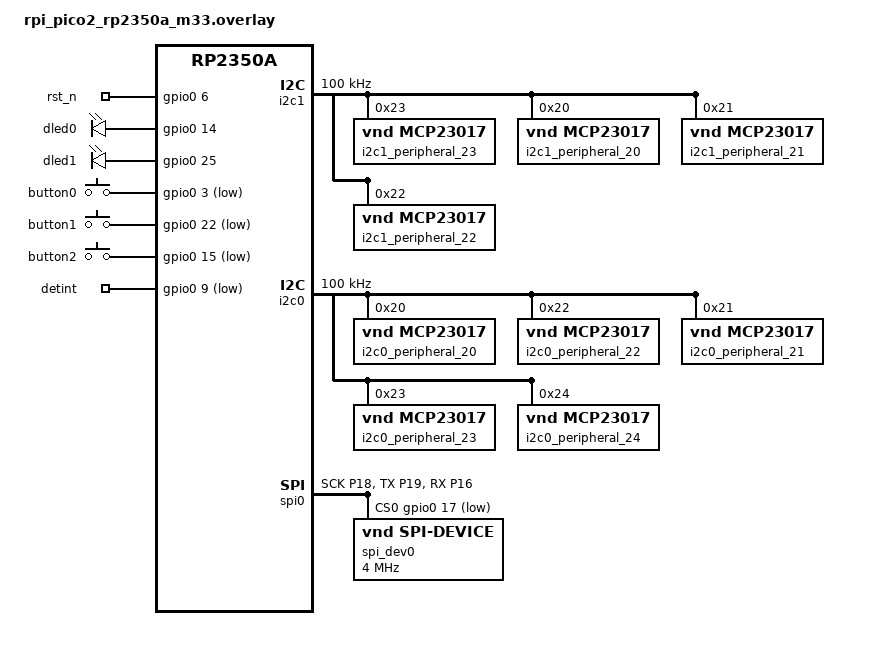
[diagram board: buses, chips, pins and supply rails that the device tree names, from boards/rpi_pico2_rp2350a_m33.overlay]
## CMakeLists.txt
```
# SPDX-License-Identifier: Apache-2.0

cmake_minimum_required(VERSION 3.20.0)

set(CMAKE_EXPORT_COMPILE_COMMANDS ON)
set(DTC_OVERLAY_FILE ${CMAKE_CURRENT_SOURCE_DIR}/boards/rpi_pico2_rp2350a_m33.overlay)
find_package(Zephyr REQUIRED HINTS $ENV{ZEPHYR_BASE})
project(generic_i2c)

target_sources(app PRIVATE 
src/main.c 
src/gpio_i2c.c 
src/gpio_i2c.h
src/spio.c
src/spio.h
src/tones.c
src/tones.h
src/main_fsm.c
src/main_fsm.h
src/slic.c
src/slic.h
src/bt.c
src/bt.h
)
```

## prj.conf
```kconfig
CONFIG_I2C=y
CONFIG_SPI=y
CONFIG_PINCTRL=y
CONFIG_SHELL=y
CONFIG_I2C_SHELL=y
CONFIG_LOG=y
CONFIG_LOG_DEFAULT_LEVEL=3
CONFIG_SMF=y
CONFIG_SHELL=y
CONFIG_LOG_BACKEND_UART=y
CONFIG_LOG_RUNTIME_FILTERING=y
CONFIG_LOG_MODE_IMMEDIATE=n
CONFIG_LOG_MODE_DEFERRED=y
CONFIG_TIMESLICING=y
CONFIG_TIMESLICE_SIZE=10
CONFIG_TIMESLICE_PRIORITY=5
```

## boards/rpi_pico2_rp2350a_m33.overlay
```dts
#include <dt-bindings/gpio/gpio.h>

&pinctrl {
    i2c0_default: i2c0_default {
        group1 {
            pinmux = <I2C0_SDA_P20>, <I2C0_SCL_P21>;
            input-enable;
            input-schmitt-enable;
        };
    };

    i2c1_default: i2c1_default {
        group1 {
            pinmux = <I2C1_SDA_P10>, <I2C1_SCL_P11>;
            input-enable;
            input-schmitt-enable;
        };
    };

    spi0_default: spi0_default {
        group1 {                          /* outputs */
        pinmux = <SPI0_SCK_P18>, <SPI0_TX_P19>;
        };
        group2 {                          /* input */
        pinmux = <SPI0_RX_P16>;
            input-enable;
        };
    };
};

&i2c1 {
    status = "okay";
    pinctrl-0 = <&i2c1_default>;
    pinctrl-names = "default";
    clock-frequency = <I2C_BITRATE_STANDARD>;

    i2c1_peripheral_23: i2c1_peripheral_23@23 {
        compatible = "vnd,mcp23017";
        reg = <0x23>;                     /* 7-bit slave address */
    };

    i2c1_peripheral_20: i2c1_peripheral_20@20 {
        compatible = "vnd,mcp23017";
        reg = <0x20>;
    };

    i2c1_peripheral_21: i2c1_peripheral_21@21 {
        compatible = "vnd,mcp23017";
        reg = <0x21>;                     /* 7-bit slave address */
    };

	i2c1_peripheral_22: i2c1_peripheral_22@22 {
        compatible = "vnd,mcp23017";
        reg = <0x22>;                     /* 7-bit slave address */
    };


};

&i2c0 {
    status = "okay";
    pinctrl-0 = <&i2c0_default>;
    pinctrl-names = "default";
    clock-frequency = <I2C_BITRATE_STANDARD>;

    i2c0_peripheral_20: i2c0_peripheral_20@20 {
        compatible = "vnd,mcp23017";
        reg = <0x20>;
    };

    i2c0_peripheral_22: i2c0_peripheral_20@22 {
        compatible = "vnd,mcp23017";
        reg = <0x22>;
    };

    i2c0_peripheral_21: i2c0_peripheral_21@21 {
        compatible = "vnd,mcp23017";
        reg = <0x21>;                     /* 7-bit slave address */
    };

    i2c0_peripheral_23: i2c0_peripheral_23@23 {
        compatible = "vnd,mcp23017";
        reg = <0x23>;                     /* 7-bit slave address */
    };

    i2c0_peripheral_24: i2c0_peripheral_24@24 {
        compatible = "vnd,mcp23017";
        reg = <0x24>;                     /* 7-bit slave address */
    };


};


&spi0 {
    status        = "okay";
    pinctrl-0     = <&spi0_default>;
    pinctrl-names = "default";
    cs-gpios      = <&gpio0 17 GPIO_ACTIVE_LOW>;

    spi_dev0: spi_dev0@0 {
        compatible        = "vnd,spi-device";
        reg               = <0>;
        spi-max-frequency = <4000000>;
    };
};

/ {
    hooksw {
        compatible = "gpio-leds";
        rst_n: rstn {
            gpios = <&gpio0 6 GPIO_ACTIVE_HIGH>;
        };
    };


    dled_0 {
        compatible = "gpio-leds";
        dled0: dled_0 {
            gpios = <&gpio0 14 GPIO_ACTIVE_HIGH>;
        };
    };

    dled_1 {
        compatible = "gpio-leds";
        dled1: dled_1 {
            gpios = <&gpio0 25 GPIO_ACTIVE_HIGH>;
        };
    };



    button_0 {
        compatible = "gpio-keys";
        button0: button_0 {
            gpios = <&gpio0 3 (GPIO_ACTIVE_LOW)>;
        };
    };

    button_1 {
        compatible = "gpio-keys";
        button1: button_1 {
            gpios = <&gpio0 22 (GPIO_ACTIVE_LOW)>;
        };
    };

    button_2 {
        compatible = "gpio-keys";
        button2: button_2 {
            gpios = <&gpio0 15 (GPIO_ACTIVE_LOW | GPIO_PULL_UP)>;
        };
    };

    det_int {
        compatible = "gpio-keys";
        detint: det_int {
            gpios = <&gpio0 9 (GPIO_ACTIVE_LOW)>;
        };
    };

    aliases {
        rstn = &rst_n;
        sw0 = &button0;
        sw1 = &button1;
        sw2 = &button2;
        detint = &detint;
        led0 = &dled0;
        led1 = &dled1;
    };
};
```

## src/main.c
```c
#include "stdint.h"
#include "main.h"
#include "main_fsm.h"
#include "tones.h"
#include "slic.h"
#include "bt.h"
#include "gpio_i2c.h"
#include <zephyr/kernel.h>
#include <zephyr/drivers/gpio.h>
#include <zephyr/smf.h>
#include <zephyr/logging/log.h>

LOG_MODULE_DECLARE(main, LOG_LEVEL_NONE);

/* ------------------------------------------------------------------ */
/* Tone instances — one per subscriber line                           */
/* tone_run initialised to 0 (blocked), melody = gb_ring              */
/* periph_addr identifies which SLIC to ring                          */
/* ------------------------------------------------------------------ */
static tone_instance_t tone1 = {
    .melody = gb_ring,
    .periph_addr = PERIPH_ADDR_20,
};

static tone_instance_t tone2 = {
    .melody = de_ring,
    .periph_addr = PERIPH_ADDR_21,
};

static tone_instance_t tone3 = {
    .melody = de_ring,
    .periph_addr = PERIPH_ADDR_21, /* update when hw address known  */
};


/* ------------------------------------------------------------------ */
/* FSM instances                                                       */
/* ------------------------------------------------------------------ */

static struct fsm_instance fsm1 = {
    .button = GPIO_DT_SPEC_GET(DT_ALIAS(detint), gpios),
    .engaged_bit = ENGAGED_FSM1_BIT,
    .int_call_bit = INT_CALL_FSM1_BIT,
    .tone = &tone1,
    .status_bit = 6,
};

static struct fsm_instance fsm2 = {
    .button = GPIO_DT_SPEC_GET(DT_ALIAS(detint), gpios),
    .engaged_bit = ENGAGED_FSM2_BIT,
    .int_call_bit = INT_CALL_FSM2_BIT,
    .tone = &tone2,
    .status_bit = 7,
};

/* NOTE: sw2 must be defined in the devicetree overlay               */
static struct fsm_instance fsm3 = {
    .button = GPIO_DT_SPEC_GET(DT_ALIAS(detint), gpios),
    .engaged_bit = ENGAGED_FSM3_BIT,
    .int_call_bit = INT_CALL_FSM3_BIT,
    .tone = &tone3,
    .status_bit = 5,
};

/* ------------------------------------------------------------------ */
/* Threads                                                             */
/* ------------------------------------------------------------------ */

#define FSM_STACK_SIZE  1024
#define FSM_PRIORITY    5
#define TONE_STACK_SIZE  1024
#define TONE_PRIORITY    6

static K_SEM_DEFINE(fsm_ready, 0, 3);

static void fsm1_thread(void* a, void* b, void* c)
{
    k_sem_take(&fsm_ready, K_FOREVER);
    fsm_run(&fsm1);
}

static void fsm2_thread(void* a, void* b, void* c)
{
    k_sem_take(&fsm_ready, K_FOREVER);
    fsm_run(&fsm2);
}

static void fsm3_thread(void* a, void* b, void* c)
{
    k_sem_take(&fsm_ready, K_FOREVER);
    fsm_run(&fsm3);
}

K_THREAD_DEFINE(fsm1_tid, FSM_STACK_SIZE, fsm1_thread,
                NULL, NULL, NULL, FSM_PRIORITY, 0, 0);
K_THREAD_DEFINE(fsm2_tid, FSM_STACK_SIZE, fsm2_thread,
                NULL, NULL, NULL, FSM_PRIORITY, 0, 0);
K_THREAD_DEFINE(fsm3_tid, FSM_STACK_SIZE, fsm3_thread,
                NULL, NULL, NULL, FSM_PRIORITY, 0, 0);

/* Tone threads — one per subscriber line, pass tone_instance as arg */
K_THREAD_DEFINE(tone1_tid, TONE_STACK_SIZE, tone_task,
                &tone1, NULL, NULL, TONE_PRIORITY, 0, 0);
K_THREAD_DEFINE(tone2_tid, TONE_STACK_SIZE, tone_task,
                &tone2, NULL, NULL, TONE_PRIORITY, 0, 0);
K_THREAD_DEFINE(tone3_tid, TONE_STACK_SIZE, tone_task,
                &tone3, NULL, NULL, TONE_PRIORITY, 0, 0);

/* ----------------------------------------------------------- */
/* main                                                                */
/* ----------------------------------------------------------- */

int main(void)
{
    int ret;


/* Initialise tone_run semaphores — blocked at start              */
    k_sem_init(&tone1.tone_run, 0, 1);
    k_sem_init(&tone2.tone_run, 0, 1);
    k_sem_init(&tone3.tone_run, 0, 1);

    init_gpios();
    init_bt();
    ret = init_slic();
    if (ret) LOG_ERR("init_slic failed: %d", ret);


    // set spio cs pin on address decoder for spi
    set_slic(i2c_bus0,
             PERIPH_ADDR_24,
             MCPREG_GPIO_B,
             0x00, //Set Address decoder to 0 for CMX no 1
             MASK_HIGH);
    initCMX865();

    set_slic(i2c_bus0,
             PERIPH_ADDR_24,
             MCPREG_GPIO_B,
             0x01, //Set Address decoder to 1 for CMX no 1
             MASK_HIGH);
    initCMX865();

    ret = fsm_init(&fsm1);
    if (ret) LOG_ERR("fsm1 init failed: %d", ret);

    ret = fsm_init(&fsm2);
    if (ret) LOG_ERR("fsm2 init failed: %d", ret);

    ret = fsm_init(&fsm3);
    if (ret) LOG_ERR("fsm3 init failed: %d", ret);

    /* Register instances so update_int_call can wake them            */
    fsm_register(&fsm1);
    fsm_register(&fsm2);
    fsm_register(&fsm3);

    k_sem_give(&fsm_ready);
    k_sem_give(&fsm_ready);
    k_sem_give(&fsm_ready);

    return 0;
}
```

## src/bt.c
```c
//
// Created by Hans Gelke on 08.09.2026.
//

#include "bt.h"
#include "slic.h"
#include "gpio_i2c.h"


int init_bt(void)
{
    set_slic(i2c_bus0,PERIPH_ADDR_22, MCPREG_IODIR_A,BT_DIR_A,BT_DIR);
    set_slic(i2c_bus0,PERIPH_ADDR_22, MCPREG_IODIR_B,BT_DIR_B,BT_DIR);

    set_slic_txmux(i2c_bus0,PERIPH_ADDR_22, SLIC_MUX_DIS);
    set_slic_rxmux(i2c_bus0,PERIPH_ADDR_22, SLIC_MUX_DIS);
    set_slic(i2c_bus0,PERIPH_ADDR_22,MCPREG_GPIO_A,BT_CLR_RST, BT_RST);
    set_slic(i2c_bus0,PERIPH_ADDR_22,MCPREG_GPIO_A,BT_SET_MFB, BT_MFB);

return 0;
}
```

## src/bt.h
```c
//
// Created by Hans Gelke on 08.09.2026.
//

#ifndef SRC_BT_H
#define SRC_BT_H



#include "stdint.h"
#include <zephyr/device.h>

#define BT_CLR_RST (0x10) // Clear BT reset
#define BT_RST (0x10) // Mask for Bluetooth reset bit
#define BT_SET_MFB (0x20) // Set MFB pin
#define BT_MFB (0x20) // Mask for MFB pin

#define BT_DIR_A (0x00) //All outputs
#define BT_DIR_B (0x00) //All outputs

#define BT_DIR (0xff) //Unmask all

int init_bt(void);

#endif //SRC_BT_H
```

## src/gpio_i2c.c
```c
#include <zephyr/drivers/gpio.h>
#include <zephyr/drivers/i2c.h>
#include <zephyr/logging/log.h>
//#include <zephyr/sys/util.h>
//#include <errno.h>
#include "gpio_i2c.h"

#include <stddef.h>
#include <stdint.h>
#include <string.h>

#define RST_N_PIN     6

#define GPIO_NODE DT_NODELABEL(gpio0)


LOG_MODULE_REGISTER(gpio_i2c, LOG_LEVEL_NONE);

const struct device* gpio_dev;
const struct device *i2c_bus0 = DEVICE_DT_GET(I2C_NODE_0);
const struct device *i2c_bus1 = DEVICE_DT_GET(I2C_NODE_1);

int init_gpios(void)
{
    int ret;
    gpio_dev = DEVICE_DT_GET(GPIO_NODE);
    ret = gpio_pin_configure(gpio_dev, RST_N_PIN, GPIO_OUTPUT_INACTIVE);
    gpio_pin_set(gpio_dev, RST_N_PIN, 1);

    LOG_INF("I2C RESET PIN RELEASED");
    return 0;
}


int i2c_write_register(const struct device* bus,
                       uint8_t dev_addr,
                       uint8_t reg_addr,
                       const uint8_t* data,
                       size_t len)
{
    /* Build one contiguous buffer: [reg_addr | data...]
     * The RP2350 I2C controller sends these as a single
     * transaction without a repeated START in between.   */
    uint8_t buf[1 + len]; /* VLA; fine for small len */
    buf[0] = reg_addr;
    memcpy(&buf[1], data, len);

    int ret = i2c_write(bus, buf, sizeof(buf), dev_addr);
    if (ret < 0)
    {
        LOG_ERR("I2C write failed (addr=0x%02x reg=0x%02x): %d (%s)",
                dev_addr, reg_addr, ret, strerror(-ret));
        LOG_ERR("2 I2C write failed 2: %d (%s)", ret, strerror(-ret));
    }
    return ret;
}

int i2c_read_register(const struct device* bus,
                      uint8_t dev_addr,
                      uint8_t reg_addr,
                      uint8_t* data,
                      size_t len)
{
    /* Write the register address first, then read back the data.
     * i2c_write_read() issues a repeated START between the two
     * phases — no STOP in between — which most peripherals require. */
    int ret = i2c_write_read(bus,
                             dev_addr,
                             &reg_addr, sizeof(reg_addr), /* write phase */
                             data, len); /* read phase  */
    if (ret < 0)
    {
        LOG_ERR("I2C read failed (addr=0x%02x reg=0x%02x): %d (%s)",
                dev_addr, reg_addr, ret, strerror(-ret));
    }
    return ret;
}
```

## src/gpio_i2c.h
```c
//
// Created by Hans Gelke on 22.04.2026.
//

#ifndef SRC_GPIO_I2C_H
#define SRC_GPIO_I2C_H
#include <zephyr/device.h>

/* ------------------------------------------------------------------ */
/* I2C bus node labels — devicetree references                        */
/* ------------------------------------------------------------------ */
#define I2C_NODE_0      DT_NODELABEL(i2c0)
#define I2C_NODE_1      DT_NODELABEL(i2c1)

/* ------------------------------------------------------------------ */
/* Shared I2C bus handles — defined in gpio_i2c.c                     */
/* ------------------------------------------------------------------ */
extern const struct device *i2c_bus0;
extern const struct device *i2c_bus1;

/* ------------------------------------------------------------------ */
/* I2C peripheral addresses — derived from devicetree                 */
/* ------------------------------------------------------------------ */
#define PERIPH_ADDR_20  DT_REG_ADDR(DT_NODELABEL(i2c0_peripheral_20))
#define PERIPH_ADDR_21  DT_REG_ADDR(DT_NODELABEL(i2c0_peripheral_21))
#define PERIPH_ADDR_22  DT_REG_ADDR(DT_NODELABEL(i2c0_peripheral_22))
#define PERIPH_ADDR_23  DT_REG_ADDR(DT_NODELABEL(i2c0_peripheral_23))
#define PERIPH_ADDR_24  DT_REG_ADDR(DT_NODELABEL(i2c0_peripheral_24))

/* ------------------------------------------------------------------ */
/* MCP23017 register addresses                                         */
/* ------------------------------------------------------------------ */
#define MCPREG_IODIR_A         0x00    /* I/O direction register A           */
#define MCPREG_IODIR_B         0x01    /* I/O direction register B           */
#define MCPREG_IOPOL_A          0x02    /* GPIO port A register               */
#define MCPREG_IOPOL_B          0x03    /* GPIO port B register */
#define MCPREG_GPINTEN_A          0x04    /* GPIO port B register               */
#define MCPREG_GPINTEN_B          0x05    /* GPIO port B register               */
#define MCPREG_DEFVAL_A          0x06    /* GPIO port B register               */
#define MCPREG_DEFVAL_B          0x07    /* GPIO port B register               */
#define MCPREG_INTCON_A          0x08    /* GPIO port B register               */
#define MCPREG_INTCON_B          0x09    /* GPIO port B register               */
#define MCPREG_IOCON            0x0a    /* GPIO port B register               */
#define MCPREG_GPPU_A          0x0c    /* GPIO port B register               */
#define MCPREG_GPPU_B          0x0d    /* GPIO port B register               */
#define MCPREG_INTF_A          0x0e    /* GPIO port B register               */
#define MCPREG_INTF_B          0x0f    /* GPIO port B register               */
#define MCPREG_INTCAP_A          0x10    /* GPIO port B register               */
#define MCPREG_INTCAP_B          0x11    /* GPIO port B register               */
#define MCPREG_GPIO_A          0x12    /* GPIO port B register               */
#define MCPREG_GPIO_B          0x13    /* GPIO port B register               */
#define MCPREG_OLAT_A          0x14    /* GPIO port B register               */
#define MCPREG_OLAT_B          0x15    /* GPIO port B register  */
#define MCPREG_GPIO 0x00                */




int i2c_write_register(const struct device *bus,
                               uint8_t dev_addr,
                               uint8_t reg_addr,
                               const uint8_t *data,
                               size_t len);

int i2c_read_register(const struct device *bus,
                              uint8_t dev_addr,
                              uint8_t reg_addr,
                              uint8_t *data,
                              size_t len);
int init_gpios(void);






#endif //SRC_GPIO_I2C_H
```

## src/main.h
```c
//
// Created by Hans Gelke on 21.06.2026.
//

#ifndef SRC_MAIN_H
#define SRC_MAIN_H

#include <stdint.h>

/* ------------------------------------------------------------------ */
/* MCP23017 IODIR register values                                      */
/* Written to the IODIRA/IODIRB register to set pin directions        */
/* ------------------------------------------------------------------ */
#define MCP_ALL_OUTPUTS 0x00    /* all pins configured as outputs     */
#define MCP_ALL_INPUTS  0xFF    /* all pins configured as inputs      */

/* ------------------------------------------------------------------ */
/* Byte mask constants                                                 */
/* ------------------------------------------------------------------ */
#define LOWER_NIBBLE    0x0F    /* bits 3:0                           */
#define UPPER_NIBBLE    0xF0    /* bits 7:4                           */
#define BYTE_MASK       0xFF    /* all 8 bits                         */
#define MASK_HIGH       0x0F    /* upper nibble cleared, lower active */

#endif /* SRC_MAIN_H */
```

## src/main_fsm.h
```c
//
// Created by Hans Gelke on 21.06.2026.
//
#ifndef MAIN_FSM_H
#define MAIN_FSM_H

#include <zephyr/drivers/gpio.h>
#include <zephyr/smf.h>
#include <zephyr/kernel.h>
#include <zephyr/sys/atomic.h>
#include "tones.h"

/* ------------------------------------------------------------------ */
/* int_call — shared one-hot register (common to fsm1 and fsm2)       */
/*                                                                     */
/* Reflects pulse_queue[1] as a one-hot bit, but only when            */
/* pulse_queue[0] == 1.                                               */
/*                                                                     */
/* Encoding: value N → BIT(N-1)                                       */
/*   1 → 0b00000001   2 → 0b00000010   3 → 0b00000100                */
/*   4 → 0b00001000   5 → 0b00010000   6 → 0b00100000                */
/*   7 → 0b01000000   8 → 0b10000000   9 → 0b100000000               */
/*                                                                     */
/* fsm1 and fsm2 OR their bits in simultaneously.                     */
/* Bits are only SET here — clearing is described in later            */
/* instructions.                                                       */
/* ------------------------------------------------------------------ */
extern atomic_t int_call;

/* ------------------------------------------------------------------ */
/* engaged — tracks which FSM instances are active (not in S0)        */
/*   bit 0 : fsm1 not in S0                                           */
/*   bit 1 : fsm2 not in S0                                           */
/*   0b00 = both idle   0b01 = fsm1 active   0b10 = fsm2 active      */
/*   0b11 = both active                                               */
/* Bit is SET when FSM leaves S0, CLEARED when FSM enters S0.         */
/* ------------------------------------------------------------------ */
extern atomic_t engaged;

#define ENGAGED_FSM1_BIT  0
#define ENGAGED_FSM2_BIT  1
#define ENGAGED_FSM3_BIT  2

/* Bit each FSM owns in int_call                                       */
#define INT_CALL_FSM1_BIT 0
#define INT_CALL_FSM2_BIT 1
#define INT_CALL_FSM3_BIT 2

/* ------------------------------------------------------------------ */
/* Events                                                              */
/* ------------------------------------------------------------------ */
#define EVENT_BTN_ACTIVE        BIT(0)  /* button pressed  (active edge)  */
#define EVENT_BTN_INACTIVE      BIT(1)  /* button released (inactive edge) */
#define EVENT_PULSE_EXPIRED     BIT(2)  /* pulse_timer reached zero        */
#define EVENT_HANGUP_EXPIRED    BIT(3)  /* hang_up_timer reached zero      */
#define EVENT_INT_CALL          BIT(4)  /* int_call bit set for this FSM   */
#define EVENT_INT_CALL_CLEARED  BIT(5)  /* int_call bit cleared — S7 → S1 */

#define EVENT_ALL  (EVENT_BTN_ACTIVE       | \
                    EVENT_BTN_INACTIVE     | \
                    EVENT_PULSE_EXPIRED    | \
                    EVENT_HANGUP_EXPIRED   | \
                    EVENT_INT_CALL         | \
                    EVENT_INT_CALL_CLEARED)

/* ------------------------------------------------------------------ */
/* Timer values                                                        */
/* ------------------------------------------------------------------ */
#define PULSE_TIMER_MS    500   /* inter-pulse timeout                  */
#define HANGUP_TIMER_MS    80   /* open loop > 80 ms = hang up          */

/* ------------------------------------------------------------------ */
/* Per-instance context                                                */
/* ------------------------------------------------------------------ */
struct fsm_instance {
    struct smf_ctx       ctx;             /* must be first               */

    struct k_event       event;
    int32_t              events;

    struct gpio_dt_spec  button;
    struct gpio_callback button_cb;

    struct k_work         status_work;

    struct k_timer       pulse_timer;     /* inter-pulse countdown       */
    bool                 pulse_expired;   /* set by pulse_timer callback */

    struct k_timer       hang_up_timer;   /* open-loop detection         */

    uint32_t             pulse_count;                      /* pulses in current S2/S3 series, reset in S1     */

    /* pulse_queue — array of completed series counts                  */
    /* One entry per S2/S3 burst, separated by S1 transitions          */
    /* Cleared when FSM enters S0 or S1 (new call / new digit group)   */
#define PULSE_QUEUE_SIZE  16
    uint32_t             pulse_queue[PULSE_QUEUE_SIZE];   /* stored series counts                            */
    uint8_t              pulse_queue_idx;                 /* next free slot, also == number of entries so far */

    /* Which bit of engaged this instance owns (ENGAGED_FSM1_BIT or ENGAGED_FSM2_BIT) */
    uint8_t              engaged_bit;

    /* Which bit of int_call this instance monitors (INT_CALL_FSM1_BIT or INT_CALL_FSM2_BIT) */
    uint8_t              int_call_bit;
    /* Which bit of the shared status register (GPIO_B) this instance watches */
    uint8_t              status_bit;      /* <-- ADD THIS LINE */
    /* Pointer to the FSM that initiated the current int_call to us  */
    /* Set by update_int_call, used by S5 to notify the caller       */
    struct fsm_instance  *caller;

    /* Per-instance tone task context — controls ringing for this line */
    tone_instance_t      *tone;
};

int fsm_init(struct fsm_instance *inst);
int fsm_run(struct fsm_instance *inst);

/* Register an instance so update_int_call can wake it via EVENT_INT_CALL */
void fsm_register(struct fsm_instance *inst);

#endif /* MAIN_FSM_H */
```

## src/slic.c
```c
//
// Created by Hans Gelke on 22.06.2026.
//
#include <zephyr/logging/log.h>

#include "gpio_i2c.h"
#include  "main.h"
#include "slic.h"
#include <zephyr/drivers/i2c.h>

LOG_MODULE_REGISTER(slic, LOG_LEVEL_NONE);

//----------------------------------------
// Initialice I2C in SLICs
//-----------------------------------------

int init_slic(void)
    {

    uint8_t rx_buf20[2] = {0};
    //----------------------------------------
    // Check if I2C is ready
    //-----------------------------------------
        if (!device_is_ready(i2c_bus0))
        {
            LOG_ERR("I2C bus 0 not ready");
            return -ENODEV;
        }
        if (!device_is_ready(i2c_bus1))
        {
            LOG_ERR("I2C bus 1 not ready");
            return -ENODEV;
        }

    // ----------------------------------------------------------------
// Initialize SLIC IODIR Registers. SLIC_DIR has information if Pins should be in and out
//---------------------------------------------------------------

    set_slic(i2c_bus0,PERIPH_ADDR_20, MCPREG_IODIR_B,SLIC_DIR_B,SLIC_DIR);

    set_slic(i2c_bus0,PERIPH_ADDR_21, MCPREG_IODIR_B,SLIC_DIR_B,SLIC_DIR);

    set_slic(i2c_bus0,PERIPH_ADDR_20, MCPREG_IODIR_A,SLIC_DIR_A,SLIC_DIR);

    set_slic(i2c_bus0,PERIPH_ADDR_21, MCPREG_IODIR_A,SLIC_DIR_A,SLIC_DIR);

        //-----------------------
        // Initialize SLIC TX MUXER  with default values = output disabled
        //-------------------------
    set_slic_txmux(i2c_bus0,PERIPH_ADDR_20, SLIC_MUX_DIS);
    set_slic_txmux(i2c_bus0,PERIPH_ADDR_21, SLIC_MUX_DIS);

    //-----------------------
    // Initialize SLIC RX MUXER  with default values = output disabled
    //-------------------------
   // set_slic_rxmux(i2c_bus0,0, SLIC_MUX_a);
   // set_slic_rxmux(i2c_bus0,1, SLIC_MUX_a);
    set_slic(i2c_bus0,PERIPH_ADDR_20, MCPREG_GPIO_A,SLIC_MUX_7,SLIC_MUX);
    set_slic(i2c_bus0,PERIPH_ADDR_21, MCPREG_GPIO_A,SLIC_MUX_7,SLIC_MUX);

        // ----------------------------------------------------------------
        // Set Low/HIGH Battery in both SLICs, BSEL*/
        //----------------------------------------------------------------
    set_slic(i2c_bus0, PERIPH_ADDR_20, MCPREG_GPIO_B,BATLO,BATSEL_MASK);
    set_slic(i2c_bus0,PERIPH_ADDR_21, MCPREG_GPIO_B,BATLO,BATSEL_MASK);

        // ----------------------------------------------------------------
        // Sets Sets F0-F3 Bits in SLIC 20 and 21
        // ----------------------------------------------------------------
        set_slic_mode(i2c_bus0, PERIPH_ADDR_21, SLIC_LPSB);
        set_slic_mode(i2c_bus0, PERIPH_ADDR_20, SLIC_LPSB);

        // ----------------------------------------------------------------
        // Sets E0 Bit in SLICs
        //----------------------------------------------------------------

        set_slic(i2c_bus0,PERIPH_ADDR_20, MCPREG_GPIO_A,SLIC_E0,SLIC_E0_MASK);
        set_slic(i2c_bus0,PERIPH_ADDR_21, MCPREG_GPIO_A,SLIC_E0,SLIC_E0_MASK);


        // ----------------------------------------------------------------
        // Sets SWC_n Bit in SLICs
        //----------------------------------------------------------------

        set_slic(i2c_bus0,PERIPH_ADDR_20, MCPREG_GPIO_B,SWC_N,SWC_N_MASK);
        set_slic(i2c_bus0,PERIPH_ADDR_21, MCPREG_GPIO_B,SWC_N,SWC_N_MASK);



    // ----------------------------------------------------------------
    // Initialize Registers for AUX GPIOs at address 0x24 ALL are outputs
    //----------------------------------------------------------------
    set_slic(i2c_bus0,
             PERIPH_ADDR_24,
             MCPREG_IODIR_A,
             AUX_DIR_A,
             AUX_DIR);

    set_slic(i2c_bus0,
             PERIPH_ADDR_24,
             MCPREG_IODIR_B,
             AUX_DIR_B,
             AUX_DIR);



        // ----------------------------------------------------------------
        // Read IODIR A and B Register for checking only
        //----------------------------------------------------------------
   // uint8_t rx_buf20[2] = {0};
        i2c_read_register(i2c_bus0,
                          PERIPH_ADDR_20,
                          MCPREG_IODIR_A, /* register to read from */
                          rx_buf20,
                          sizeof(rx_buf20));
        LOG_INF("IODIR_A: slave 0x%02x, reg_addr: 0x%02x data: 0x%02x",
                PERIPH_ADDR_20, MCPREG_IODIR_A, rx_buf20[0]);

        i2c_read_register(i2c_bus0,
                          PERIPH_ADDR_20,
                          MCPREG_IODIR_B, /* register to read from */
                          rx_buf20,
                          sizeof(rx_buf20));
        LOG_INF("IODIR_B: slave 0x%02x, reg_addr: 0x%02x data: 0x%02x",
                PERIPH_ADDR_20, MCPREG_IODIR_B, rx_buf20[0]);

    //-------------------------------------------------------------------
    // Read GPIO A and B Register for checking only
    //-------------------------------------------------------------------

        i2c_read_register(i2c_bus0,
                          PERIPH_ADDR_20,
                          MCPREG_GPIO_A, /* register to read from */
                          rx_buf20,
                          sizeof(rx_buf20));
        LOG_INF("GPIO_A: slave 0x%02x, reg_addr: 0x%02x data: 0x%02x",
                PERIPH_ADDR_20, MCPREG_GPIO_A, rx_buf20[0]);

        i2c_read_register(i2c_bus0,
                          PERIPH_ADDR_20,
                          MCPREG_GPIO_B, /* register to read from */
                          rx_buf20,
                          sizeof(rx_buf20));
        LOG_INF("GPIO_B: slave 0x%02x, reg_addr: 0x%02x data: 0x%02x",
                PERIPH_ADDR_20, MCPREG_GPIO_B, rx_buf20[0]);


        // ----------------------------------------------------------------
        // Read IODIR A and B Register for checking only
        //----------------------------------------------------------------
        i2c_read_register(i2c_bus0,
                          PERIPH_ADDR_21,
                          MCPREG_IODIR_A, /* register to read from */
                          rx_buf20,
                          sizeof(rx_buf20));
        LOG_INF("IODIR_A: slave 0x%02x, reg_addr: 0x%02x data: 0x%02x",
                PERIPH_ADDR_21, MCPREG_IODIR_A, rx_buf20[0]);

        i2c_read_register(i2c_bus0,
                          PERIPH_ADDR_21,
                          MCPREG_IODIR_B, /* register to read from */
                          rx_buf20,
                          sizeof(rx_buf20));
        LOG_INF("IODIR_B: slave 0x%02x, reg_addr: 0x%02x data: 0x%02x",
                PERIPH_ADDR_21, MCPREG_IODIR_B, rx_buf20[0]);

        //-------------------------------------------------------------------
        // Read GPIO A and B Register for checking only
        //-------------------------------------------------------------------

        i2c_read_register(i2c_bus0,
                          PERIPH_ADDR_21,
                          MCPREG_GPIO_A, /* register to read from */
                          rx_buf20,
                          sizeof(rx_buf20));
        LOG_INF("GPIO_A: slave 0x%02x, reg_addr: 0x%02x data: 0x%02x",
                PERIPH_ADDR_21, MCPREG_GPIO_A, rx_buf20[0]);


        i2c_read_register(i2c_bus0,
                          PERIPH_ADDR_21,
                          MCPREG_GPIO_B, /* register to read from */
                          rx_buf20,
                          sizeof(rx_buf20));
        LOG_INF("GPIO_B: slave 0x%02x, reg_addr: 0x%02x data: 0x%02x",
                PERIPH_ADDR_21, MCPREG_GPIO_B, rx_buf20[0]);


        return 0; // Return from main.c
    }

/* ----------------------------------------------------------------*/
/* Function Sets Mode Register in SLIC  */
/* -------------------------------------------------------------*/

int set_slic_mode(const struct device* bus,
             uint8_t dev_addr, //Is the subscriber number
             uint8_t mode)
{
    uint8_t reg_addr = 0x12; //GPIO A
    uint8_t mode_mask = 0x70; //Bits 4-6
    uint8_t byte[2] = {0x0};
    //uint8_t dev_addr;

    int ret = i2c_write_read(bus,
                             dev_addr,
                             &reg_addr, sizeof(reg_addr), /* write phase */
                             byte, sizeof(byte)); /* read phase  */
    if (ret < 0)
    {
        LOG_ERR("SLIC read failed (addr=0x%02x reg=0x%02x): %d (%s)",
                dev_addr, reg_addr, ret, strerror(-ret));
    }


    uint8_t buf[2];
    uint8_t results =0x0;

    buf[0] = reg_addr;
    results = (byte[0] & ~mode_mask) | (mode & mode_mask);
    buf[1] = results;

    //LOG_INF("byte: 0x%x, mask: 0x%x, mode: 0x%x, results: 0x%x", byte[0], mask, mode, results);

    ret = i2c_write(bus, buf, sizeof(buf), dev_addr);
    return ret;
}

/* ----------------------------------------------------------------*/
/* Function Sets Any Register in SLIC  */
/* -------------------------------------------------------------*/

int set_slic(const struct device* bus,
             uint8_t dev_addr, //Is the subscriber number
             uint8_t reg_addr,
             uint8_t mode,
             uint8_t mask)
{

    uint8_t byte[2] = {0x0};
    int ret = i2c_write_read(bus,
                             dev_addr,
                             &reg_addr, sizeof(reg_addr), /* write phase */
                             byte, sizeof(byte)); /* read phase  */
    if (ret < 0)
    {
        LOG_ERR("SLIC read failed (addr=0x%02x reg=0x%02x): %d (%s)",
                dev_addr, reg_addr, ret, strerror(-ret));
    }

    uint8_t buf[2];
    uint8_t results =0x0;

    buf[0] = reg_addr;
    results = (byte[0] & ~mask) | (mode & mask);
    buf[1] = results;

    //LOG_INF("byte: 0x%x, mask: 0x%x, mode: 0x%x, results: 0x%x", byte[0], mask, mode, results);

    ret = i2c_write(bus, buf, sizeof(buf), dev_addr);
    return ret;
}

/* ----------------------------------------------------------------*/
/* Function Sets TX_MUX in SLIC  */
/* -------------------------------------------------------------*/

int set_slic_txmux(const struct device* bus,
             uint8_t dev_addr, //Is the subscriber number
             uint8_t val)
{
    uint8_t reg_addr = MCPREG_GPIO_A; //GPIO A
    uint8_t mode_mask = SLIC_MUX; //Bits 4-6
    uint8_t byte[2] = {0x0};
    //uint8_t dev_addr;

    int ret = i2c_write_read(bus,
                             dev_addr,
                             &reg_addr, sizeof(reg_addr), /* write phase */
                             byte, sizeof(byte)); /* read phase  */
    if (ret < 0)
    {
        LOG_ERR("SLIC read failed (addr=0x%02x reg=0x%02x): %d (%s)",
                dev_addr, reg_addr, ret, strerror(-ret));
    }


    uint8_t buf[2];
    uint8_t results =0x0;

    buf[0] = reg_addr;
    results = (byte[0] & ~mode_mask) | (val & mode_mask);
    buf[1] = results;

    //LOG_INF("byte: 0x%x, mask: 0x%x, val: 0x%x, results: 0x%x", byte[0], mask, mode, results);

    ret = i2c_write(bus, buf, sizeof(buf), dev_addr);
    return ret;
}
/* ----------------------------------------------------------------*/
/* Function Sets RX_MUX in SLIC  */
/* -------------------------------------------------------------*/
int set_slic_rxmux(const struct device* bus,
             uint8_t dev_addr, //Is the subscriber number
             uint8_t val)
{
    uint8_t reg_addr = MCPREG_GPIO_B;
    uint8_t mode_mask = SLIC_MUX;
    uint8_t byte[2] = {0x0};
    //uint8_t dev_addr;

    int ret = i2c_write_read(bus,
                             dev_addr,
                             &reg_addr, sizeof(reg_addr), /* write phase */
                             byte, sizeof(byte)); /* read phase  */
    if (ret < 0)
    {
        LOG_ERR("SLIC read failed (addr=0x%02x reg=0x%02x): %d (%s)",
                dev_addr, reg_addr, ret, strerror(-ret));
    }


    uint8_t buf[2];
    uint8_t results =0x0;

    buf[0] = reg_addr;
    results = (byte[0] & ~mode_mask) | (val & mode_mask);
    buf[1] = results;

    //LOG_INF("byte: 0x%x, mask: 0x%x, val: 0x%x, results: 0x%x", byte[0], mask, mode, results);

    ret = i2c_write(bus, buf, sizeof(buf), dev_addr);
    return ret;
}
```

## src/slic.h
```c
//
// Created by Hans Gelke on 22.06.2026.
//

#ifndef SRC_SLIC_H
#define SRC_SLIC_H

#include "stdint.h"
#include <zephyr/device.h>


#define SLIC_LPSB (0x00) // Low Power Standby
#define SLIC_FORA (0x10) // Forward active
#define SLIC_URNG (0x20) // unballanced ringing
#define SLIC_REVA (0x30)//Reverse active
#define SLIC_RING (0x40)//Ringing
#define SLIC_LOOP (0x50)// forward loop
#define SLIC_TIPO (0x60) //Tip Open
#define SLIC_POWD (0x70) //Power denial
#define SLIC_MODE (0x70)

#define BATSEL_MASK (0x10)
#define BATHI (0x10)
#define BATLO (0x00)

#define SLIC_DIR_B (0xc0) // 0 and 1 output
#define SLIC_DIR_A (0x00) //all Outputs
#define SLIC_DIR (0xff)

#define AUX_DIR_A (0x00)
#define AUX_DIR_B (0x00)
#define AUX_DIR (0xff)

#define SLIC_MUX (0x0f)
#define SLIC_MUX_DIS (0x08)
#define SLIC_MUX_7 (0x07)
#define SLIC_MUX_a (0x0a)

#define SLIC_E0 (0x80)
#define SLIC_E0_MASK (0x80)

#define SWC_N (0x20)
#define SWC_N_MASK (0x20)



int init_slic(void);

int set_slic_mode(const struct device* bus,
             uint8_t dev_addr, //Is the subscriber number
             uint8_t mode);

int set_slic(const struct device *bus,
                    uint8_t dev_addr,
                    uint8_t reg_addr,
                    uint8_t mode,//Is the subscriber number
                    uint8_t mask);  //Is the mode to be set

int set_slic_txmux(const struct device* bus,
             uint8_t dev_addr, //Is the subscriber number
             uint8_t val);

int set_slic_rxmux(const struct device* bus,
             uint8_t dev_addr, //Is the subscriber number
             uint8_t val);

#endif //SRC_SLIC_H
```

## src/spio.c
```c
//
// Created by Hans Gelke on 05.06.2026.
//

#include <zephyr/drivers/spi.h>
#include <zephyr/logging/log.h>
#include "spio.h"

LOG_MODULE_REGISTER(spi_example, LOG_LEVEL_NONE);


const struct spi_dt_spec spi_dev =
    SPI_DT_SPEC_GET(SPI_DEV_NODE,
                    SPI_OP_MODE_MASTER |
                    SPI_TRANSFER_MSB   |
                    SPI_WORD_SET(8)    |
                    SPI_LINES_SINGLE);

int spi_write_bytes(const uint8_t *data, size_t len)
{
    struct spi_buf     tx_buf = { .buf = (void *)data, .len = len };
    struct spi_buf_set tx_set = { .buffers = &tx_buf, .count = 1  };

    int ret = spi_write_dt(&spi_dev, &tx_set);
    if (ret < 0) { LOG_ERR("spi_write_dt failed: %d", ret); }
    return ret;
}

int spi_read_bytes(uint8_t *data, size_t len)
{
    struct spi_buf     rx_buf = { .buf = data, .len = len };
    struct spi_buf_set rx_set = { .buffers = &rx_buf, .count = 1 };

    int ret = spi_read_dt(&spi_dev, &rx_set);
    if (ret < 0) { LOG_ERR("spi_read_dt failed: %d", ret); }
    return ret;
}

int spi_transceive_bytes(const uint8_t *tx_data,
                                uint8_t       *rx_data,
                                size_t         len)
{
    struct spi_buf     tx_buf = { .buf = (void *)tx_data, .len = len };
    struct spi_buf_set tx_set = { .buffers = &tx_buf, .count = 1  };
    struct spi_buf     rx_buf = { .buf = rx_data,        .len = len };
    struct spi_buf_set rx_set = { .buffers = &rx_buf,    .count = 1 };

    int ret = spi_transceive_dt(&spi_dev, &tx_set, &rx_set);
    if (ret < 0) { LOG_ERR("spi_transceive_dt failed: %d", ret); }
    return ret;
}

int spi_read_register(uint8_t reg_addr, uint16_t *value)
{
    uint8_t tx[3] = { reg_addr, 0x00u, 0x00u };
    uint8_t rx[3] = { 0, 0, 0 };

    int ret = spi_transceive_bytes(tx, rx, sizeof(tx));
    if (ret == 0) { *value = ((uint16_t)rx[1] << 8) | rx[2]; }
    return ret;
}
```

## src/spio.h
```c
//
// Created by Hans Gelke on 05.06.2026.
//

#ifndef SRC_SPIO_H
#define SRC_SPIO_H

#include <stdint.h>
#include <stddef.h>
#include <zephyr/devicetree.h>

/* ------------------------------------------------------------------ */
/* SPI device node — used by spio.c and any file doing SPI transfers  */
/* ------------------------------------------------------------------ */
#define SPI_DEV_NODE    DT_NODELABEL(spi_dev0)

int spi_write_bytes(const uint8_t *data, size_t len);

int spi_read_bytes(uint8_t *data, size_t len);

int spi_read_register(uint8_t reg_addr, uint16_t *value);

int spi_transceive_bytes(const uint8_t *tx_data,
                                uint8_t       *rx_data,
                                size_t         len);

#endif //SRC_SPIO_H
```

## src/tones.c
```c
//
// Created by Hans Gelke on 21.06.2026.
//

#include <zephyr/drivers/spi.h>
#include <zephyr/logging/log.h>
#include "tones.h"
#include "spio.h"
#include "main.h"
#include "slic.h"
#include "gpio_i2c.h"

note_t gb_ring[CADENCE_MAX_SEGMENTS] = {
    {  400000, 450.0, 400.0, 0.5, true,  true,  false },
    {  400000, 450.0, 400.0, 0.5, false, false, false },
    {  400000, 450.0, 400.0, 0.5, true,  true,  false },
    { 2000000, 450.0, 400.0, 0.5, false, false, true  },
    { 0, 0.0, 0.0, 0.0, false, false, false },
    { 0, 0.0, 0.0, 0.0, false, false, false },
    { 0, 0.0, 0.0, 0.0, false, false, false },
    { 0, 0.0, 0.0, 0.0, false, false, false },
};

note_t de_ring[CADENCE_MAX_SEGMENTS] = {
    { 2000000, 450.0, 400.0, 0.5, true,  true,  false },
    { 4000000, 450.0, 400.0, 0.5, false, false, true  },
};

LOG_MODULE_REGISTER(tone_generator, LOG_LEVEL_NONE);

/* tones.c-specific mask constants not defined elsewhere              */
#define MASK_LOW        0xF0
#define MASK_NO         0xFF
#define I2C_OUTPUT      0x00    /* MCP23017: all pins as outputs      */
#define I2C_INPUT       0xFF    /* MCP23017: all pins as inputs       */

/* ------------------------------------------------------------------ */
/* tone_task — ringing cadence generator                              */
/*                                                                     */
/* One instance per FSM, so each phone line rings independently.      */
/* The void* parameter carries a tone_instance_t pointer with:        */
/*   - tone_run semaphore (posted by S5 entry, taken by S5 exit)      */
/*   - melody pointer (cadence array to play)                         */
/*   - periph_addr (which SLIC to drive)                              */
/*                                                                     */
/* Semaphore protocol:                                                 */
/*   k_sem_take blocks until S5 posts tone_run (phone starts ringing) */
/*   k_sem_give re-posts for the next cadence cycle                   */
/*   When S5 exits it takes tone_run — next k_sem_take blocks again   */
/* ------------------------------------------------------------------ */
void tone_task(void *inst, void *b, void *c)
{
    tone_instance_t *ti = (tone_instance_t *)inst;

    while (1) {
        /* Block until this FSM's S5 entry posts tone_run             */
        k_sem_take(&ti->tone_run, K_FOREVER);

        /* Re-post so the cadence loop keeps cycling                  */
        k_sem_give(&ti->tone_run);

        /* Walk the cadence table                                     */
        uint8_t note_idx  = 0;
        bool    skip_flag = false;

        while ((note_idx < CADENCE_MAX_SEGMENTS) && !skip_flag) {

            bool     tone_on  = ti->melody[note_idx].tone_on;
            uint32_t sleep_us = ti->melody[note_idx].duration;
            skip_flag         = ti->melody[note_idx].skip;

            if (tone_on) {
                /* Turn on bell for this subscriber line              */
                set_slic(i2c_bus0,
                         ti->periph_addr,
                         MCPREG_GPIO_A,
                         SLIC_RING,
                         SLIC_MODE);
            } else {
                /* Turn off bell for this subscriber line             */
                set_slic(i2c_bus0,
                         ti->periph_addr,
                         MCPREG_GPIO_A,
                         SLIC_FORA,
                         SLIC_MODE);
            }

            /* Wait for this cadence segment's duration               */
            k_usleep(sleep_us);

            note_idx++;
        }
    }
}


/* ------------------------------------------------------------------ */
/* Helper — write a CMX865 register and log the readback              */
/* ------------------------------------------------------------------ */
static void cmx865_write_verify(const uint8_t *cmd, size_t len,
                                uint8_t readback_reg)
{
    uint16_t val = 0;
    spi_write_bytes(cmd, len);
    k_msleep(10);
    spi_read_register(readback_reg, &val);
    LOG_INF("Reg 0x%02X readback: 0x%02X", readback_reg, val);
}

/* ------------------------------------------------------------------ */
/* CMX865 initialisation                                               */
/* ------------------------------------------------------------------ */
int initCMX865(void)
{
    const struct spi_dt_spec spi_dev =
        SPI_DT_SPEC_GET(SPI_DEV_NODE,
                        SPI_OP_MODE_MASTER |
                        SPI_TRANSFER_MSB   |
                        SPI_WORD_SET(8)    |
                        SPI_LINES_SINGLE);

    //const struct device* i2c_bus0 = DEVICE_DT_GET(I2C_NODE_0);

    LOG_INF("CMX865 init starting");

    if (!spi_is_ready_dt(&spi_dev)) {
        LOG_ERR("SPI device not ready");
        return -ENODEV;
    }

    //--------------------------------
    // Read registers 0x24
    //----------------------------------------------------------------

    uint8_t rx_buf20[2] = {0};
    i2c_read_register(i2c_bus0, PERIPH_ADDR_24, MCPREG_IODIR_A, rx_buf20, sizeof(rx_buf20));

    LOG_INF("IODIR_A: slave 0x%02x, reg_addr: 0x%02x data: 0x%02x",
            PERIPH_ADDR_24, MCPREG_IODIR_A, rx_buf20[0]);

    i2c_read_register(i2c_bus0,
                      PERIPH_ADDR_24,
                      MCPREG_IODIR_B, /* register to read from */
                      rx_buf20,
                      sizeof(rx_buf20));

    LOG_INF("IODIR_B: slave 0x%02x, reg_addr: 0x%02x data: 0x%02x",
            PERIPH_ADDR_24, MCPREG_IODIR_B, rx_buf20[0]);

    //-------------------------------------------------------------------

    i2c_read_register(i2c_bus0,
                      PERIPH_ADDR_24,
                      MCPREG_GPIO_A, /* register to read from */
                      rx_buf20,
                      sizeof(rx_buf20));

    LOG_INF("GPIO_A: slave 0x%02x, reg_addr: 0x%02x data: 0x%02x",
            PERIPH_ADDR_24, MCPREG_GPIO_A, rx_buf20[0]);


    i2c_read_register(i2c_bus0,
                      PERIPH_ADDR_24,
                      MCPREG_GPIO_B, /* register to read from */
                      rx_buf20,
                      sizeof(rx_buf20));
    LOG_INF("GPIO_B: slave 0x%02x, reg_addr: 0x%02x data: 0x%02x",
            PERIPH_ADDR_24, MCPREG_GPIO_B, rx_buf20[0]);


    const uint8_t READBACK_REG = 0xE6;




    /* General reset                                                   */
    static const uint8_t general_reset[]  = { 0x01 };
    spi_write_bytes(general_reset, sizeof(general_reset));
    k_msleep(10);

    /* Set reset bit                                                    */
    static const uint8_t set_reset[]      = { 0xE0, 0x0D, 0x80 };
    spi_write_bytes(set_reset, sizeof(set_reset));
    k_msleep(20);

    /* Clear reset bit                                                  */
    static const uint8_t clear_reset[]    = { 0xE0, 0x0D, 0x00 };
    spi_write_bytes(clear_reset, sizeof(clear_reset));
    k_msleep(10);

    /* TX mode register                                                 */
    static const uint8_t tx_mode[]        = { 0xE1, 0x1E, 0x00 };
    spi_write_bytes(tx_mode, sizeof(tx_mode));
    k_msleep(10);

    /* Tone generator program start                                     */
    static const uint8_t prog_start[]     = { 0xE8, 0x80, 0x00 };
    spi_write_bytes(prog_start, sizeof(prog_start));
    k_msleep(10);

    /* Frequency 1                                                      */
    static const uint8_t freq_1[]         = { 0xE8, 0x05, 0xDE };
    cmx865_write_verify(freq_1, sizeof(freq_1), READBACK_REG);

    /* Level 1                                                          */
    static const uint8_t level_1[]        = { 0xE8, 0x37, 0x81 };
    cmx865_write_verify(level_1, sizeof(level_1), READBACK_REG);

    /* Frequency 2                                                      */
    static const uint8_t freq_2[]         = { 0xE8, 0x05, 0xDE };
    cmx865_write_verify(freq_2, sizeof(freq_2), READBACK_REG);

    /* Level 2                                                          */
    static const uint8_t level_2[]        = { 0xE8, 0x37, 0x81 };
    cmx865_write_verify(level_2, sizeof(level_2), READBACK_REG);

    /* Enable TX output                                                 */
    static const uint8_t tx_enable[]      = { 0xE1, 0x1E, 0x0C };
    spi_write_bytes(tx_enable, sizeof(tx_enable));
    k_msleep(10);

    LOG_INF("CMX865 init done");
    return 0;
}
```
